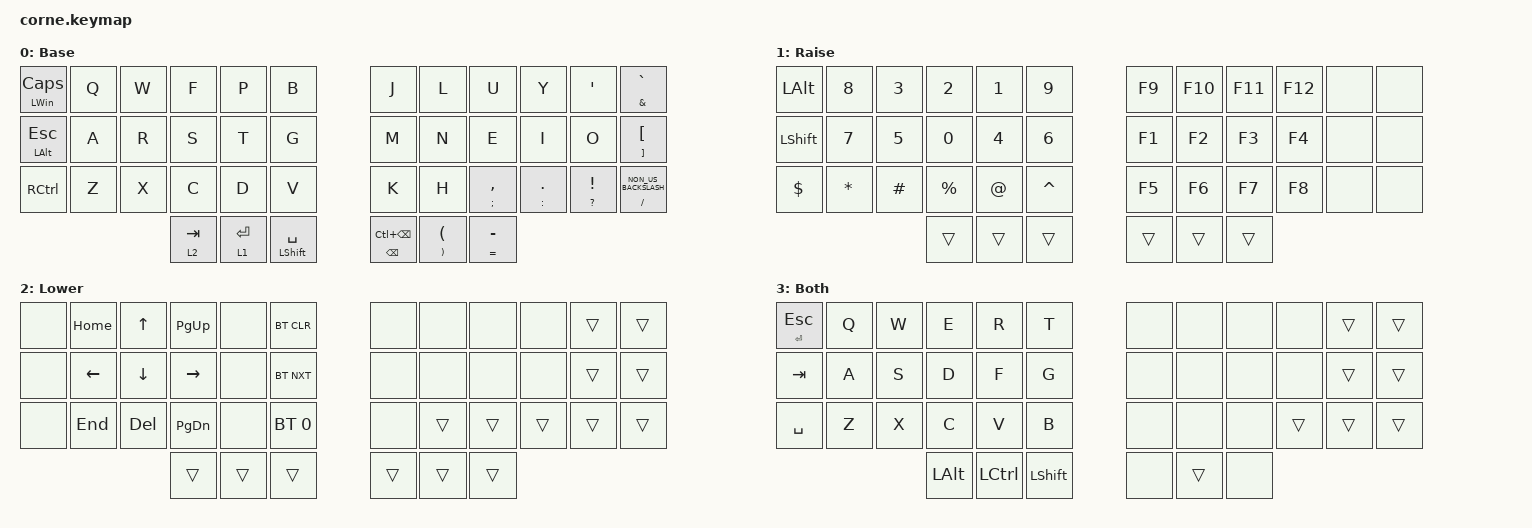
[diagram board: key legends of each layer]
/*
 * Copyright (c) 2020 The ZMK Contributors
 *
 * SPDX-License-Identifier: MIT
 */

#include <behaviors.dtsi>
#include <dt-bindings/zmk/bt.h>
#include <dt-bindings/zmk/keys.h>
#include <dt-bindings/zmk/keys.h>

/ {
    combos {
        compatible = "zmk,combos";

        Layer3 {
            bindings = <&to 3>;
            key-positions = <39 40>;
            layers = <0>;
        };

        Tilde {
            bindings = <&kp GRAVE>;
            key-positions = <1 0>;
        };

        Layer0 {
            bindings = <&to 0>;
            key-positions = <39 40>;
            layers = <3>;
        };

        StickyLayer1 {
            bindings = <&sl 1>;
            key-positions = <14 16>;
        };

        ToggleShift {
            bindings = <&kt LEFT_SHIFT>;
            key-positions = <36 29>;
        };

        ToggleAlt {
            bindings = <&kt LEFT_ALT>;
            key-positions = <36 38>;
        };

        ToggleCtrl {
            bindings = <&kt LCTRL>;
            key-positions = <36 37>;
        };

        One {
            bindings = <&kp NUMBER_1>;
            key-positions = <12 13>;
            layers = <3>;
        };

        Two {
            bindings = <&kp NUMBER_2>;
            key-positions = <12 14>;
            layers = <3>;
        };

        Three {
            bindings = <&kp NUMBER_3>;
            key-positions = <12 15>;
            layers = <3>;
        };

        Four {
            bindings = <&kp NUMBER_4>;
            key-positions = <12 16>;
            layers = <3>;
        };

        Five {
            bindings = <&kp N5>;
            key-positions = <12 17>;
            layers = <3>;
        };

        FOne {
            bindings = <&kp F1>;
            key-positions = <0 1>;
            layers = <3>;
        };

        FTwo {
            bindings = <&kp F2>;
            key-positions = <0 2>;
            layers = <3>;
        };

        FThree {
            bindings = <&kp F3>;
            key-positions = <0 3>;
            layers = <3>;
        };

        FFour {
            bindings = <&kp F4>;
            key-positions = <0 4>;
            layers = <3>;
        };

        FFive {
            bindings = <&kp F5>;
            key-positions = <0 5>;
            layers = <3>;
        };
    };

    macros {
        new_macro: new_macro {
            compatible = "zmk,behavior-macro";
            #binding-cells = <0>;
            bindings = <&none>;
            label = "NEW_MACRO";
        };
    };

    behaviors {
        HoldTap_behavior: HoldTap_behavior {
            compatible = "zmk,behavior-hold-tap";
            label = "HOLDTAP_BEHAVIOR";
            bindings = <&none>, <&none>;

            #binding-cells = <2>;
            tapping-term-ms = <800>;
            flavor = "tap-preferred";
        };

        TapDance_behavior: TapDance_behavior {
            compatible = "zmk,behavior-tap-dance";
            label = "TAPDANCE_BEHAVIOR";
            #binding-cells = <0>;
            bindings = <&kp LEFT_SHIFT>, <&none>;

            tapping-term-ms = <200>;
        };

        Sticky_behavior: Sticky_behavior {
            compatible = "zmk,behavior-sticky-key";
            label = "STICKY_BEHAVIOR";
            bindings = <&none>;
            #binding-cells = <1>;
            release-after-ms = <2000>;
        };
    };

    keymap {
        compatible = "zmk,keymap";

        Base {
            bindings = <
&mt LEFT_WIN CAPSLOCK  &kp Q  &kp W  &kp F      &kp P        &kp B                   &kp J                        &kp L                                   &kp U                &kp Y             &kp SQT                   &mt AMPERSAND GRAVE
&mt LEFT_ALT ESCAPE    &kp A  &kp R  &kp S      &kp T        &kp G                   &kp M                        &kp N                                   &kp E                &kp I             &kp O                     &mt RIGHT_BRACKET LEFT_BRACKET
&kp RCTRL              &kp Z  &kp X  &kp C      &kp D        &kp V                   &kp K                        &kp H                                   &mt SEMICOLON COMMA  &mt COLON PERIOD  &mt QUESTION EXCLAMATION  &mt SLASH NON_US_BACKSLASH
                                     &lt 2 TAB  &lt 1 ENTER  &mt LEFT_SHIFT SPACE    &mt BACKSPACE LC(BACKSPACE)  &mt RIGHT_PARENTHESIS LEFT_PARENTHESIS  &mt EQUAL MINUS
            >;
        };

        Raise {
            bindings = <
&kp LEFT_ALT    &kp N8        &kp N3    &kp N2       &kp N1       &kp N9       &kp F9  &kp F10  &kp F11  &kp F12  &none  &none
&kp LEFT_SHIFT  &kp N7        &kp N5    &kp N0       &kp N4       &kp N6       &kp F1  &kp F2   &kp F3   &kp F4   &none  &none
&kp DOLLAR      &kp ASTERISK  &kp HASH  &kp PERCENT  &kp AT_SIGN  &kp CARET    &kp F5  &kp F6   &kp F7   &kp F8   &none  &none
                                        &trans       &trans       &trans       &trans  &trans   &trans
            >;
        };

        Lower {
            bindings = <
&none  &kp HOME  &kp UP      &kp PG_UP      &none   &bt BT_CLR      &none   &none   &none   &none   &trans  &trans
&none  &kp LEFT  &kp DOWN    &kp RIGHT      &none   &bt BT_NXT      &none   &none   &none   &none   &trans  &trans
&none  &kp END   &kp DELETE  &kp PAGE_DOWN  &none   &bt BT_SEL 0    &none   &trans  &trans  &trans  &trans  &trans
                             &trans         &trans  &trans          &trans  &trans  &trans
            >;
        };

        Both {
            bindings = <
&mt ENTER ESCAPE  &kp Q  &kp W  &kp E         &kp R      &kp T             &none  &none   &none  &none   &trans  &trans
&kp TAB           &kp A  &kp S  &kp D         &kp F      &kp G             &none  &none   &none  &none   &trans  &trans
&kp SPACE         &kp Z  &kp X  &kp C         &kp V      &kp B             &none  &none   &none  &trans  &trans  &trans
                                &kp LEFT_ALT  &kp LCTRL  &kp LEFT_SHIFT    &none  &trans  &none
            >;
        };
    };
};
